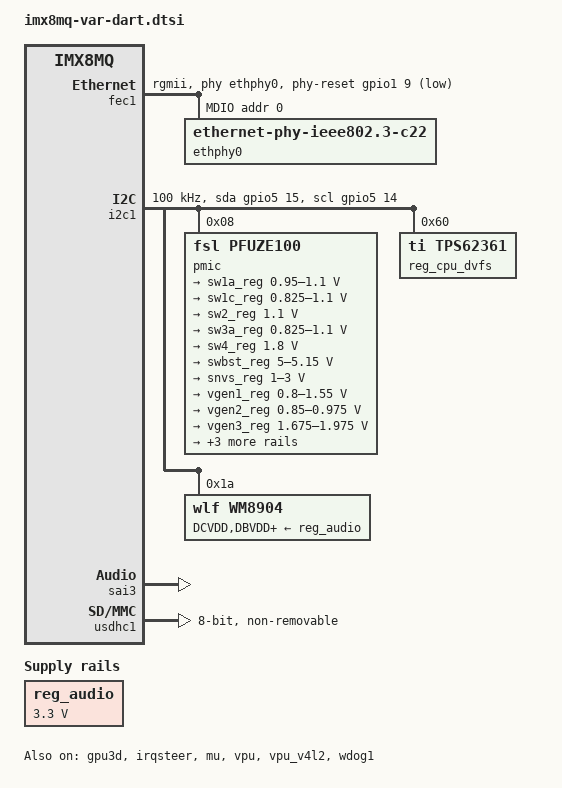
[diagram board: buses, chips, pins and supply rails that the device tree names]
// SPDX-License-Identifier: (GPL-2.0 OR MIT)
/*
 * Copyright 2017 NXP
 * Copyright (C) 2017-2018 Pengutronix, Lucas Stach <kernel@pengutronix.de>
 * Copyright 2018-2021 Variscite Ltd.
 */

/dts-v1/;

#include <dt-bindings/usb/pd.h>
#include "imx8mq.dtsi"

/ {
	compatible = "variscite,imx8m-dart", "fsl,imx8mq";

	reg_audio: audio_vdd {
		compatible = "regulator-fixed";
		regulator-name = "wm8904_supply";
		regulator-min-microvolt = <3300000>;
		regulator-max-microvolt = <3300000>;
		regulator-always-on;
	};

	reg_eth_phy: eth_phy {
		compatible = "regulator-fixed";
		regulator-name = "eth_phy_pwr";
		regulator-min-microvolt = <3300000>;
		regulator-max-microvolt = <3300000>;
		gpio = <&gpio1 8 GPIO_ACTIVE_HIGH>;
		enable-active-high;
		status = "disabled";
	};

	sound-wm8904 {
		compatible = "fsl,imx-audio-wm8904";
		model = "wm8904-audio";
		audio-cpu = <&sai3>;
		audio-codec = <&wm8904>;
		audio-routing =
			"Headphone Jack", "HPOUTL",
			"Headphone Jack", "HPOUTR",
			"IN2L", "Line In Jack",
			"IN2R", "Line In Jack",
			"IN1L", "Mic Jack",
			"Playback", "CPU-Playback",
			"CPU-Capture", "Capture";
		status = "okay";
	};

	sound-hdmi {
		compatible = "fsl,imx8mq-evk-cdnhdmi",
				"fsl,imx-audio-cdnhdmi";
		model = "imx-audio-hdmi";
		audio-cpu = <&sai4>;
		protocol = <1>;
		hdmi-out;
		constraint-rate = <44100>,
				<88200>,
				<176400>,
				<32000>,
				<48000>,
				<96000>,
				<192000>;
		status = "disabled";
	};

	sound-hdmi-arc {
		compatible = "fsl,imx-audio-spdif";
		model = "imx-hdmi-arc";
		spdif-controller = <&spdif2>;
		spdif-in;
		status = "disabled";
	};

	sound-spdif {
		compatible = "fsl,imx-audio-spdif";
		model = "imx-spdif";
		spdif-controller = <&spdif1>;
		spdif-out;
		spdif-in;
		status = "disabled";
	};
};

&A53_0 {
	cpu-supply = <&reg_cpu_dvfs>;
};

&A53_1 {
	cpu-supply = <&reg_cpu_dvfs>;
};

&A53_2 {
	cpu-supply = <&reg_cpu_dvfs>;
};

&A53_3 {
	cpu-supply = <&reg_cpu_dvfs>;
};

&fec1 {
	pinctrl-names = "default";
	pinctrl-0 = <&pinctrl_fec1>;
	phy-mode = "rgmii";
	phy-handle = <&ethphy0>;
	fsl,magic-packet;
	status = "okay";
	phy-reset-gpios = <&gpio1 9 GPIO_ACTIVE_LOW>;
	phy-reset-duration = <10>;
	phy-reset-post-delay = <20>;

	mdio {
		#address-cells = <1>;
		#size-cells = <0>;

		ethphy0: ethernet-phy@0 {
			compatible = "ethernet-phy-ieee802.3-c22";
			reg = <0>;
			at803x,led-act-blind-workaround;
			at803x,eee-disabled;
		};
	};
};

&gpu3d {
	status = "okay";
};

&iomuxc {
	pinctrl-names = "default";

	pinctrl_bt: btgrp {
		fsl,pins = <
			MX8MQ_IOMUXC_NAND_CE3_B_GPIO3_IO4		0xc1	/* BT_REG_ON     */
			MX8MQ_IOMUXC_SPDIF_EXT_CLK_GPIO5_IO5		0xc1	/* BT_BUF_EN     */
		>;
	};

	pinctrl_ethphy: ethphygrp {
		fsl,pins = <
			MX8MQ_IOMUXC_GPIO1_IO08_GPIO1_IO8		0xc1
		>;
	};

	pinctrl_fec1: fec1grp {
		fsl,pins = <
			MX8MQ_IOMUXC_ENET_MDC_ENET1_MDC			0x3
			MX8MQ_IOMUXC_ENET_MDIO_ENET1_MDIO		0x23
			MX8MQ_IOMUXC_ENET_TD3_ENET1_RGMII_TD3		0x1f
			MX8MQ_IOMUXC_ENET_TD2_ENET1_RGMII_TD2		0x1f
			MX8MQ_IOMUXC_ENET_TD1_ENET1_RGMII_TD1		0x1f
			MX8MQ_IOMUXC_ENET_TD0_ENET1_RGMII_TD0		0x1f
			MX8MQ_IOMUXC_ENET_RD3_ENET1_RGMII_RD3		0x91
			MX8MQ_IOMUXC_ENET_RD2_ENET1_RGMII_RD2		0x91
			MX8MQ_IOMUXC_ENET_RD1_ENET1_RGMII_RD1		0x91
			MX8MQ_IOMUXC_ENET_RD0_ENET1_RGMII_RD0		0x91
			MX8MQ_IOMUXC_ENET_TXC_ENET1_RGMII_TXC		0x1f
			MX8MQ_IOMUXC_ENET_RXC_ENET1_RGMII_RXC		0x91
			MX8MQ_IOMUXC_ENET_RX_CTL_ENET1_RGMII_RX_CTL	0x91
			MX8MQ_IOMUXC_ENET_TX_CTL_ENET1_RGMII_TX_CTL	0x1f
			MX8MQ_IOMUXC_GPIO1_IO09_GPIO1_IO9		0x19
		>;
	};

	pinctrl_i2c1: i2c1grp {
		fsl,pins = <
			MX8MQ_IOMUXC_I2C1_SCL_I2C1_SCL			0x4000007f
			MX8MQ_IOMUXC_I2C1_SDA_I2C1_SDA			0x4000007f
		>;
	};

	pinctrl_i2c1_gpio: i2c1grp-gpio {
		fsl,pins = <
			MX8MQ_IOMUXC_I2C1_SCL_GPIO5_IO14        	0x7f
			MX8MQ_IOMUXC_I2C1_SDA_GPIO5_IO15        	0x7f
		>;
	};

	pinctrl_lvds: lvdsgrp {
		fsl,pins = <
			MX8MQ_IOMUXC_GPIO1_IO11_GPIO1_IO11		0x16
		>;
	};

	pinctrl_sai3: sai3grp {
		fsl,pins = <
			MX8MQ_IOMUXC_SAI3_RXFS_SAI3_RX_SYNC		0xd6
			MX8MQ_IOMUXC_SAI3_RXC_SAI3_RX_BCLK		0xd6
			MX8MQ_IOMUXC_SAI3_RXD_SAI3_RX_DATA0		0xd6
			MX8MQ_IOMUXC_SAI3_TXFS_SAI3_TX_SYNC		0xd6
			MX8MQ_IOMUXC_SAI3_TXC_SAI3_TX_BCLK		0xd6
			MX8MQ_IOMUXC_SAI3_TXD_SAI3_TX_DATA0		0xd6
			MX8MQ_IOMUXC_SAI3_MCLK_SAI3_MCLK		0xd6
		>;
	};

	pinctrl_spdif1: spdif1grp {
		fsl,pins = <
			MX8MQ_IOMUXC_SPDIF_TX_SPDIF1_OUT		0xd6
			MX8MQ_IOMUXC_SPDIF_RX_SPDIF1_IN			0xd6
		>;
	};

	pinctrl_uart4: uart4grp {
		fsl,pins = <
			MX8MQ_IOMUXC_ECSPI2_SCLK_UART4_DCE_RX		0xc1
			MX8MQ_IOMUXC_ECSPI2_MOSI_UART4_DCE_TX		0xc1
			MX8MQ_IOMUXC_ECSPI2_MISO_UART4_DCE_CTS_B	0xc1
			MX8MQ_IOMUXC_ECSPI2_SS0_UART4_DCE_RTS_B		0xc1
		>;
	};

	pinctrl_usdhc1: usdhc1grp {
		fsl,pins = <
			MX8MQ_IOMUXC_SD1_CLK_USDHC1_CLK			0x83
			MX8MQ_IOMUXC_SD1_CMD_USDHC1_CMD			0xc3
			MX8MQ_IOMUXC_SD1_DATA0_USDHC1_DATA0		0xc3
			MX8MQ_IOMUXC_SD1_DATA1_USDHC1_DATA1		0xc3
			MX8MQ_IOMUXC_SD1_DATA2_USDHC1_DATA2		0xc3
			MX8MQ_IOMUXC_SD1_DATA3_USDHC1_DATA3		0xc3
			MX8MQ_IOMUXC_SD1_DATA4_USDHC1_DATA4		0xc3
			MX8MQ_IOMUXC_SD1_DATA5_USDHC1_DATA5		0xc3
			MX8MQ_IOMUXC_SD1_DATA6_USDHC1_DATA6		0xc3
			MX8MQ_IOMUXC_SD1_DATA7_USDHC1_DATA7		0xc3
			MX8MQ_IOMUXC_SD1_STROBE_USDHC1_STROBE		0x83
			MX8MQ_IOMUXC_SD1_RESET_B_USDHC1_RESET_B		0xc1
		>;
	};

	pinctrl_usdhc1_100mhz: usdhc1-100grp {
		fsl,pins = <
			MX8MQ_IOMUXC_SD1_CLK_USDHC1_CLK			0x8d
			MX8MQ_IOMUXC_SD1_CMD_USDHC1_CMD			0xcd
			MX8MQ_IOMUXC_SD1_DATA0_USDHC1_DATA0		0xcd
			MX8MQ_IOMUXC_SD1_DATA1_USDHC1_DATA1		0xcd
			MX8MQ_IOMUXC_SD1_DATA2_USDHC1_DATA2		0xcd
			MX8MQ_IOMUXC_SD1_DATA3_USDHC1_DATA3		0xcd
			MX8MQ_IOMUXC_SD1_DATA4_USDHC1_DATA4		0xcd
			MX8MQ_IOMUXC_SD1_DATA5_USDHC1_DATA5		0xcd
			MX8MQ_IOMUXC_SD1_DATA6_USDHC1_DATA6		0xcd
			MX8MQ_IOMUXC_SD1_DATA7_USDHC1_DATA7		0xcd
			MX8MQ_IOMUXC_SD1_STROBE_USDHC1_STROBE		0x8d
			MX8MQ_IOMUXC_SD1_RESET_B_USDHC1_RESET_B		0xc1
		>;
	};

	pinctrl_usdhc1_200mhz: usdhc1-200grp {
		fsl,pins = <
			MX8MQ_IOMUXC_SD1_CLK_USDHC1_CLK			0x9f
			MX8MQ_IOMUXC_SD1_CMD_USDHC1_CMD			0xdf
			MX8MQ_IOMUXC_SD1_DATA0_USDHC1_DATA0		0xdf
			MX8MQ_IOMUXC_SD1_DATA1_USDHC1_DATA1		0xdf
			MX8MQ_IOMUXC_SD1_DATA2_USDHC1_DATA2		0xdf
			MX8MQ_IOMUXC_SD1_DATA3_USDHC1_DATA3		0xdf
			MX8MQ_IOMUXC_SD1_DATA4_USDHC1_DATA4		0xdf
			MX8MQ_IOMUXC_SD1_DATA5_USDHC1_DATA5		0xdf
			MX8MQ_IOMUXC_SD1_DATA6_USDHC1_DATA6		0xdf
			MX8MQ_IOMUXC_SD1_DATA7_USDHC1_DATA7		0xdf
			MX8MQ_IOMUXC_SD1_STROBE_USDHC1_STROBE		0x9f
			MX8MQ_IOMUXC_SD1_RESET_B_USDHC1_RESET_B		0xc1
		>;
	};

	pinctrl_usdhc2_vsel: usdhc2grpvsel {
		fsl,pins = <
			MX8MQ_IOMUXC_GPIO1_IO04_USDHC2_VSELECT		0xc1
		>;
	};

	pinctrl_wdog: wdog1grp {
		fsl,pins = <
			MX8MQ_IOMUXC_GPIO1_IO02_WDOG1_WDOG_B		0xc6
		>;
	};

	pinctrl_wifi: wifigrp {
		fsl,pins = <
			MX8MQ_IOMUXC_GPIO1_IO04_GPIO1_IO4		0xc1	/* WIFI_PWR_VSEL */
			MX8MQ_IOMUXC_GPIO1_IO08_GPIO1_IO8		0xc1	/* WIFI_PWR_ON   */
			MX8MQ_IOMUXC_NAND_CE1_B_GPIO3_IO2		0xc1	/* WIFI_REG_ON   */
			MX8MQ_IOMUXC_GPIO1_IO00_ANAMIX_REF_CLK_32K	0xc1	/* WIFI_CLK_32K  */
		>;
	};
};

&i2c1 {
	clock-frequency = <100000>;
	pinctrl-names = "default", "gpio";
	pinctrl-0 = <&pinctrl_i2c1>;
	pinctrl-1 = <&pinctrl_i2c1_gpio>;
	scl-gpios = <&gpio5 14 GPIO_ACTIVE_HIGH>;
	sda-gpios = <&gpio5 15 GPIO_ACTIVE_HIGH>;
	status = "okay";

	dsi_lvds_bridge: sn65dsi84@2c {
		compatible = "ti,sn65dsi83";
		reg = <0x2c>;
		ti,dsi-lanes = <3>;
		ti,lvds-format = <1>;
		ti,lvds-bpp = <24>;
		ti,lvds-channels = <1>;
		ti,width-mm = <154>;
		ti,height-mm = <87>;
		enable-gpios = <&gpio1 11 GPIO_ACTIVE_HIGH>;
		pinctrl-names = "default";
		pinctrl-0 = <&pinctrl_lvds>;
		status = "disabled";

		display-timings {
			lvds {
				clock-frequency = <39000000>;
				hactive = <800>;
				vactive = <480>;
				hback-porch = <40>;
				hfront-porch = <40>;
				vback-porch = <29>;
				vfront-porch = <13>;
				hsync-len = <48>;
				vsync-len = <3>;
				hsync-active = <0>;
				vsync-active = <0>;
				de-active = <1>;
				pixelclk-active = <0>;
			};
		};

		port@0 {
			dsi_lvds_bridge_in: endpoint {
				remote-endpoint = <&mipi_dsi_out>;
			};
		};
	};

	pmic@8 {
		compatible = "fsl,pfuze100";
		fsl,pfuze-support-disable-sw;
		reg = <0x8>;

		regulators {
			sw1a_reg: sw1ab {
				regulator-min-microvolt = <950000>;
				regulator-max-microvolt = <1100000>;
			};

			sw1c_reg: sw1c {
				regulator-min-microvolt = <825000>;
				regulator-max-microvolt = <1100000>;
			};

			sw2_reg: sw2 {
				regulator-min-microvolt = <1100000>;
				regulator-max-microvolt = <1100000>;
				regulator-always-on;
			};

			sw3a_reg: sw3ab {
				regulator-min-microvolt = <825000>;
				regulator-max-microvolt = <1100000>;
				regulator-always-on;
			};

			sw4_reg: sw4 {
				regulator-min-microvolt = <1800000>;
				regulator-max-microvolt = <1800000>;
				regulator-always-on;
			};

			swbst_reg: swbst {
				regulator-min-microvolt = <5000000>;
				regulator-max-microvolt = <5150000>;
			};

			snvs_reg: vsnvs {
				regulator-min-microvolt = <1000000>;
				regulator-max-microvolt = <3000000>;
				regulator-always-on;
			};

			vref_reg: vrefddr {
				regulator-always-on;
			};

			vgen1_reg: vgen1 {
				regulator-min-microvolt = <800000>;
				regulator-max-microvolt = <1550000>;
			};

			vgen2_reg: vgen2 {
				regulator-min-microvolt = <850000>;
				regulator-max-microvolt = <975000>;
				regulator-always-on;
			};

			vgen3_reg: vgen3 {
				regulator-min-microvolt = <1675000>;
				regulator-max-microvolt = <1975000>;
				regulator-always-on;
			};

			vgen4_reg: vgen4 {
				regulator-min-microvolt = <1625000>;
				regulator-max-microvolt = <1875000>;
				regulator-always-on;
			};

			vgen5_reg: vgen5 {
				regulator-min-microvolt = <3075000>;
				regulator-max-microvolt = <3625000>;
				regulator-always-on;
			};

			vgen6_reg: vgen6 {
				regulator-min-microvolt = <1800000>;
				regulator-max-microvolt = <3300000>;
			};
		};
	};

	reg_cpu_dvfs: tps62361@60 {
		reg = <0x60>;
		compatible = "ti,tps62361";
		regulator-min-microvolt = <900000>;
		regulator-max-microvolt = <1000000>;
		regulator-name = "arm-supply";
		regulator-boot-on;
		regulator-always-on;
		ti,enable-force-pwm;
	};

	wm8904: codec@1a {
		compatible = "wlf,wm8904";
		reg = <0x1a>;
		clocks = <&clk IMX8MQ_CLK_SAI3_ROOT>;
		clock-names = "mclk";
		DCVDD-supply = <&reg_audio>;
		DBVDD-supply = <&reg_audio>;
		AVDD-supply = <&reg_audio>;
		CPVDD-supply = <&reg_audio>;
		MICVDD-supply = <&reg_audio>;
		num-drc-cfgs = <5>;
		drc-cfg-names = "default", "peaklimiter", "tradition", "soft", "music";
		drc-cfg-regs =
				/* coded default: KNEE_IP = KNEE_OP = 0, HI_COMP = LO_COMP = 1  */
				<0x01af 0x3248 0x0000 0x0000>,
				/* coded default: KNEE_IP = -24, KNEE_OP = -6, HI_COMP = 1/4, LO_COMP = 1 */
				<0x04af 0x324b 0x0010 0x0408>,
				/* coded default: KNEE_IP = -42, KNEE_OP = -3, HI_COMP = 0, LO_COMP = 1 */
				<0x04af 0x324b 0x0028 0x0704>,
				/* coded default: KNEE_IP = -45, KNEE_OP = -9, HI_COMP = 1/8, LO_COMP = 1 */
				<0x04af 0x324b 0x0018 0x078c>,
				/* coded default: KNEE_IP = -30, KNEE_OP = -10.5, HI_COMP = 1/4, LO_COMP = 1 */
				<0x04af 0x324b 0x0010 0x050e>;
		gpio-cfg = <
			0x0018 /* GPIO1 => DMIC_CLK */
			0xffff /* GPIO2 => don't touch */
			0xffff /* GPIO3 => don't touch */
			0xffff /* GPIO4 => don't touch */
		>;
		status = "okay";
	};
};

&irqsteer {
	status = "okay";
};

&mipi_dsi {
	status = "disabled";

	ports {
		#address-cells = <1>;
		#size-cells = <0>;
		/* DCSS Port (IN) */
		port@0 {
			reg = <0>;
		};
		/* MIPI DSI Port (OUT)*/
		port@1 {
			reg = <1>;
			mipi_dsi_out: endpoint {
				remote-endpoint = <&dsi_lvds_bridge_in>;
			};
		};
	};
};

&mu {
	status = "okay";
};

&pgc_gpu {
	power-supply = <&sw1a_reg>;
};

&pgc_vpu {
	power-supply = <&sw1c_reg>;
};

&sai3 {
	#sound-dai-cells = <0>;
	pinctrl-names = "default";
	pinctrl-0 = <&pinctrl_sai3>;
	assigned-clocks = <&clk IMX8MQ_CLK_SAI3>;
	assigned-clock-parents = <&clk IMX8MQ_AUDIO_PLL1_OUT>;
	assigned-clock-rates = <24576000>;
	status = "okay";
};

&sai4 {
	assigned-clocks = <&clk IMX8MQ_CLK_SAI4>;
	assigned-clock-parents = <&clk IMX8MQ_AUDIO_PLL1_OUT>;
	assigned-clock-rates = <24576000>;
	status = "disabled";
};

&spdif1 {
	pinctrl-names = "default";
	pinctrl-0 = <&pinctrl_spdif1>;
	assigned-clocks = <&clk IMX8MQ_CLK_SPDIF1>;
	assigned-clock-parents = <&clk IMX8MQ_AUDIO_PLL1_OUT>;
	assigned-clock-rates = <24576000>;
	clocks = <&clk IMX8MQ_CLK_IPG_ROOT>, <&clk IMX8MQ_CLK_25M>,
		<&clk IMX8MQ_CLK_SPDIF1>, <&clk IMX8MQ_CLK_DUMMY>,
		<&clk IMX8MQ_CLK_DUMMY>, <&clk IMX8MQ_CLK_DUMMY>,
		<&clk IMX8MQ_CLK_IPG_ROOT>, <&clk IMX8MQ_CLK_DUMMY>,
		<&clk IMX8MQ_CLK_DUMMY>, <&clk IMX8MQ_CLK_DUMMY>,
		<&clk IMX8MQ_AUDIO_PLL1_OUT>, <&clk IMX8MQ_AUDIO_PLL2_OUT>;
	clock-names = "core", "rxtx0", "rxtx1", "rxtx2", "rxtx3", "rxtx4",
		      "rxtx5", "rxtx6", "rxtx7", "spba", "pll8k", "pll11k";
	status = "disabled";
};

&spdif2 {
	assigned-clocks = <&clk IMX8MQ_CLK_SPDIF2>;
	assigned-clock-parents = <&clk IMX8MQ_AUDIO_PLL1_OUT>;
	assigned-clock-rates = <24576000>;
	status = "disabled";
};

/* Bluetooth */
&uart4 {
	pinctrl-names = "default";
	pinctrl-0 = <&pinctrl_uart4>, <&pinctrl_bt>;
	assigned-clocks = <&clk IMX8MQ_CLK_UART4>;
	assigned-clock-parents = <&clk IMX8MQ_SYS1_PLL_80M>;
	fsl,uart-has-rtscts;
	status = "disabled";
};

/* eMMC */
&usdhc1 {
	pinctrl-names = "default", "state_100mhz", "state_200mhz";
	pinctrl-0 = <&pinctrl_usdhc1>;
	pinctrl-1 = <&pinctrl_usdhc1_100mhz>;
	pinctrl-2 = <&pinctrl_usdhc1_200mhz>;
	vqmmc-supply = <&sw4_reg>;
	bus-width = <8>;
	non-removable;
	no-sd;
	no-sdio;
	status = "okay";
};

&vpu {
	status = "okay";
};

&vpu_v4l2 {
	status = "okay";
};

&wdog1 {
	pinctrl-names = "default";
	pinctrl-0 = <&pinctrl_wdog>;
	fsl,ext-reset-output;
	status = "okay";
};
